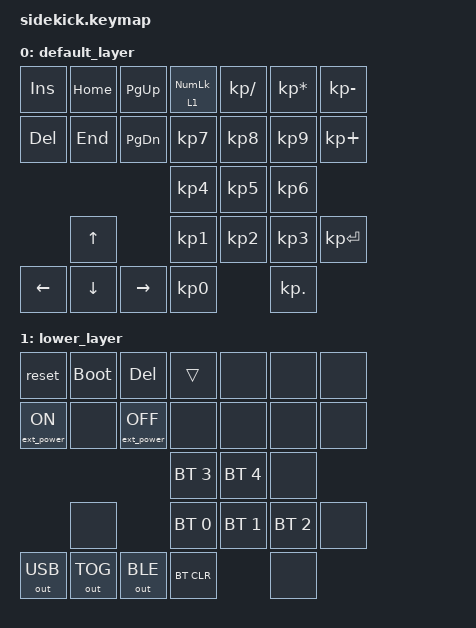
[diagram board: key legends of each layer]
/*
 * Copyright (c) 2020 The ZMK Contributors
 *
 * SPDX-License-Identifier: MIT
 */

#include <behaviors.dtsi>
#include <dt-bindings/zmk/keys.h>
#include <dt-bindings/zmk/bt.h>
#include <dt-bindings/zmk/outputs.h>
#include <dt-bindings/zmk/ext_power.h>

#define DEFAULT 0
#define LOWER 	1

/ {	
	keymap {
		compatible = "zmk,keymap";
		
		default_layer {
			bindings = <
				&kp INS 		&kp	HOME		&kp	PG_UP				&lt	1 KP_NUM	&kp	KP_SLASH	&kp	KP_MULTIPLY	&kp	KP_MINUS
				&kp	DEL 		&kp	END 		&kp	PG_DN				&kp	KP_N7		&kp	KP_N8		&kp	KP_N9		&kp KP_PLUS
																		&kp	KP_N4		&kp	KP_N5		&kp	KP_N6				
								&kp	UP									&kp	KP_N1		&kp	KP_N2		&kp	KP_N3		&kp KP_ENTER
				&kp	LEFT		&kp	DOWN		&kp RIGHT						&kp	KP_N0				&kp KP_DOT
			>;

		};

		 lower_layer {
			 bindings = <
				&reset			 &bootloader	&kp DEL				&trans				&none			&none			&none	
				&ext_power EP_ON &none			&ext_power EP_OFF	&none				&none			&none			&none
																	&bt BT_SEL 3		&bt BT_SEL 4	&none					
								 &none								&bt BT_SEL 0		&bt BT_SEL 1	&bt BT_SEL 2	&none	
				&out OUT_USB	 &out OUT_TOG	&out OUT_BLE					&bt BT_CLR			&none			
			 >;
	
		 };
	};
};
